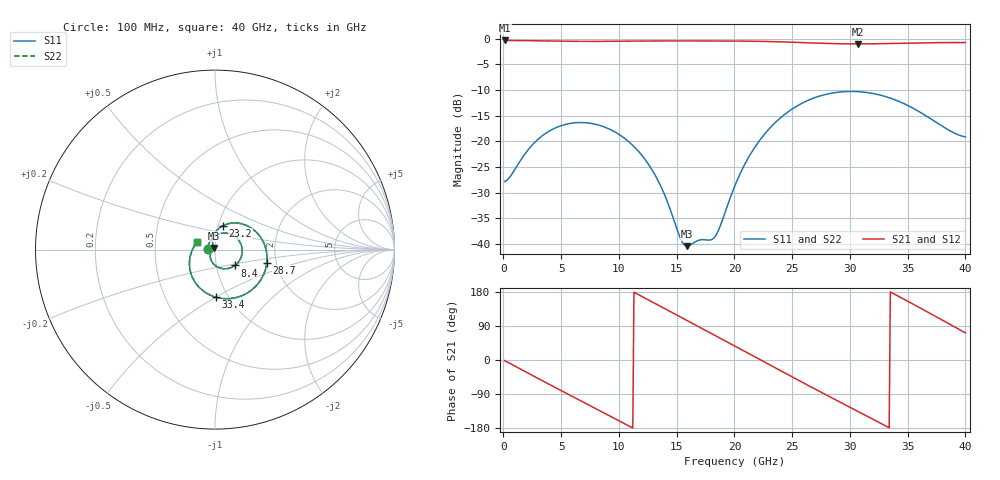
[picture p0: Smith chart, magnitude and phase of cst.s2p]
! P_ts6_pad_cut: 0402 capacitor pad on a 50 Ω microstrip, L2 plane cut out under it (next plane L5, 1.14 mm)
! stackup: ThunderScope Rev5.3 6-layer (FR408HR / FR-4, from the board file)
! ports: 1, 2
! CST Studio Suite 2025.5 Release from 2025-05-30, time domain (FIT, hexahedral, PBA), 95004 mesh cells, 25 s
! mesh: {'lpw': 20, 'lpb': 20, 'minstep': 0.0, 'ratio': 20}; ports: port 1 (face); port 2 (face)
! interpolated from CST's 1001 samples to the case grid
# Hz S RI R 50
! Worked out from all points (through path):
!   400 points, 100 MHz to 40 GHz, reference 50 ohm
!   highest |S21| = -0.36 dB at 100 MHz (marker M1); lowest = -1.0 dB at 30.7 GHz (marker M2)
!   group delay of S21, straight-line fit = 44.9 ps
!   lowest |S11| = -40.4 dB at 15.9 GHz (marker M3), VSWR 1.02, Z = 49.6 + j0.866 ohm
!   |S11| at or under -10 dB: start of sweep to end of sweep
!   |S22| runs from -40.4 to -10.3 dB; largest |S21 - S12| = 6.8e-07
!   S11 on the Smith chart (normalised r, x): 100 MHz: 0.92, +0.01; 8.4 GHz: 1.23, -0.22; 23.2 GHz: 1.05, +0.28; 28.7 GHz: 1.78, -0.28; 33.4 GHz: 0.88, -0.50; 40 GHz: 0.81, +0.07
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1e8  -0.0403 0.00474  0.9591 -0.0273  0.9591 -0.0273  -0.0403 0.00474
1.8e9  -0.00336 0.0736  0.8341 -0.4683  0.8341 -0.4683  -0.00336 0.0736
3.7e9  0.0828 0.0877  0.4747 -0.8221  0.4747 -0.8221  0.0828 0.0877
5.2e9  0.1375 0.044  0.099 -0.9383  0.099 -0.9383  0.1375 0.044
6.8e9  0.1496 -0.0286  -0.312 -0.8867  -0.312 -0.8867  0.1496 -0.0286
8.4e9  0.1113 -0.0884  -0.6623 -0.6673  -0.6623 -0.6673  0.1113 -0.0884
1.1e10  0.0106 -0.0952  -0.9435 -0.0598  -0.9435 -0.0598  0.0106 -0.0952
1.34e10  -0.0268 -0.0312  -0.776 0.547  -0.776 0.547  -0.0268 -0.0312
1.59e10  -0.00384 0.00872  -0.2333 0.9207  -0.2333 0.9207  -0.00384 0.00872
1.83e10  0.000872 0.0117  0.3985 0.8608  0.3985 0.8608  0.000872 0.0117
2.01e10  -0.0131 0.036  0.7685 0.5528  0.7685 0.5528  -0.0131 0.036
2.17e10  -0.00508 0.0851  0.9299 0.1547  0.9299 0.1547  -0.00508 0.0851
2.32e10  0.0433 0.1326  0.9026 -0.2457  0.9026 -0.2457  0.0433 0.1326
2.51e10  0.1544 0.1419  0.6364 -0.6664  0.6364 -0.6664  0.1544 0.1419
2.67e10  0.2475 0.0776  0.2777 -0.8641  0.2777 -0.8641  0.2475 0.0776
2.87e10  0.2889 -0.0726  -0.2168 -0.8667  -0.2168 -0.8667  0.2889 -0.0726
3.07e10  0.2133 -0.2174  -0.6351 -0.621  -0.6351 -0.621  0.2133 -0.2174
3.34e10  0.00612 -0.2657  -0.8959 -0.0194  -0.8959 -0.0194  0.00612 -0.2657
3.52e10  -0.1039 -0.1916  -0.7984 0.4268  -0.7984 0.4268  -0.1039 -0.1916
3.71e10  -0.1425 -0.0788  -0.4615 0.7877  -0.4615 0.7877  -0.1425 -0.0788
3.86e10  -0.1277 -0.00534  -0.0836 0.912  -0.0836 0.912  -0.1277 -0.00534
4e10  -0.1016 0.0427  0.2884 0.8691  0.2884 0.8691  -0.1016 0.0427
